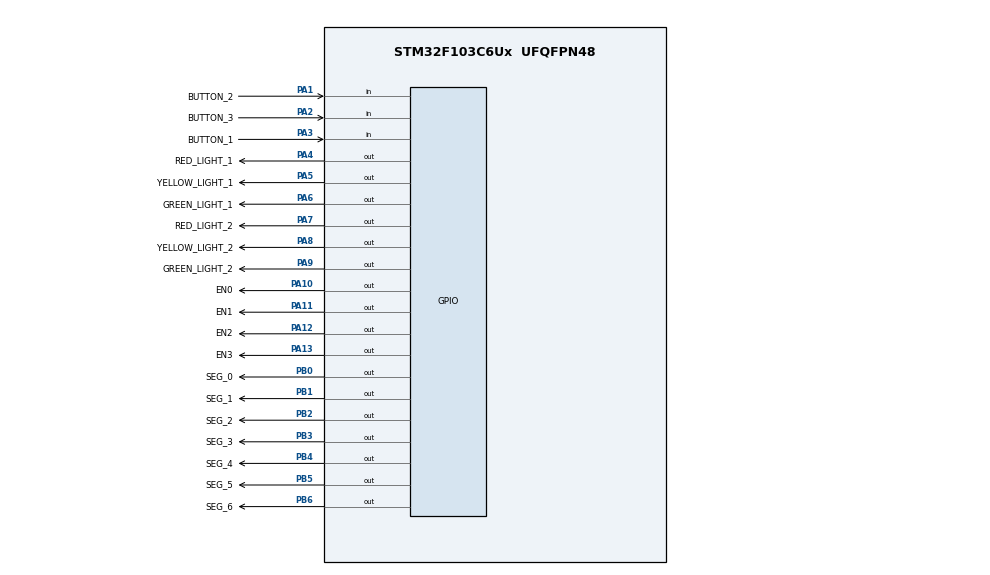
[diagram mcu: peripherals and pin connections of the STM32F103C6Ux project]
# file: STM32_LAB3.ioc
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Mcu.Family=STM32F1
Mcu.Name=STM32F103C6Ux
Mcu.Package=UFQFPN48
NVIC.PriorityGroup=NVIC_PRIORITYGROUP_4
NVIC.TIM2_IRQn=true\:0\:0\:false\:false\:true\:true\:true
PA1.GPIO_Label=BUTTON_2
PA1.GPIO_PuPd=GPIO_NOPULL
PA1.Signal=GPIO_Input
PA10.GPIO_Label=EN0
PA10.Signal=GPIO_Output
PA11.GPIO_Label=EN1
PA11.Signal=GPIO_Output
PA12.GPIO_Label=EN2
PA12.Signal=GPIO_Output
PA13.GPIO_Label=EN3
PA13.Signal=GPIO_Output
PA2.GPIO_Label=BUTTON_3
PA2.GPIO_PuPd=GPIO_NOPULL
PA2.Signal=GPIO_Input
PA3.GPIO_Label=BUTTON_1
PA3.Signal=GPIO_Input
PA4.GPIO_Label=RED_LIGHT_1
PA4.Signal=GPIO_Output
PA5.GPIO_Label=YELLOW_LIGHT_1
PA5.Signal=GPIO_Output
PA6.GPIO_Label=GREEN_LIGHT_1
PA6.Signal=GPIO_Output
PA7.GPIO_Label=RED_LIGHT_2
PA7.Signal=GPIO_Output
PA8.GPIO_Label=YELLOW_LIGHT_2
PA8.Signal=GPIO_Output
PA9.GPIO_Label=GREEN_LIGHT_2
PA9.Signal=GPIO_Output
PB0.GPIO_Label=SEG_0
PB0.Signal=GPIO_Output
PB1.GPIO_Label=SEG_1
PB1.Signal=GPIO_Output
PB2.GPIO_Label=SEG_2
PB2.Signal=GPIO_Output
PB3.GPIO_Label=SEG_3
PB3.Signal=GPIO_Output
PB4.GPIO_Label=SEG_4
PB4.Signal=GPIO_Output
PB5.GPIO_Label=SEG_5
PB5.Signal=GPIO_Output
PB6.GPIO_Label=SEG_6
PB6.Signal=GPIO_Output
ProjectManager.HeapSize=0x200
ProjectManager.StackSize=0x400
ProjectManager.TargetToolchain=STM32CubeIDE
RCC.APB1Freq_Value=8000000
RCC.APB2Freq_Value=8000000
TIM2.Period=9
TIM2.Prescaler=7999
VP_SYS_VS_ND.Mode=No_Debug
VP_TIM2_VS_ClockSourceINT.Mode=Internal
board=custom

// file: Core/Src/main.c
/* USER CODE BEGIN Header */
/**
  ******************************************************************************
  * @file           : main.c
  * @brief          : Main program body
  ******************************************************************************
  * @attention
  *
  * <h2><center>&copy; Copyright (c) 2023 STMicroelectronics.
  * All rights reserved.</center></h2>
  *
  * This software component is licensed by ST under BSD 3-Clause license,
  * the "License"; You may not use this file except in compliance with the
  * License. You may obtain a copy of the License at:
  *                        opensource.org/licenses/BSD-3-Clause
  *
  ******************************************************************************
  */
/* USER CODE END Header */
#include "main.h"

/* USER CODE BEGIN Includes */
#include "input_processing.h"
#include "global.h"
#include "display_led.h"
#include "software_timer.h"
#include "input_reading.h"
/* USER CODE END Includes */

TIM_HandleTypeDef htim2;

void SystemClock_Config(void);
static void MX_GPIO_Init(void);
static void MX_TIM2_Init(void);

int main(void)
{

  /* MCU Configuration--------------------------------------------------------*/

  /* Reset of all peripherals, Initializes the Flash interface and the Systick. */
  HAL_Init();

  /* Configure the system clock */
  SystemClock_Config();

  /* Initialize all configured peripherals */
  MX_GPIO_Init();
  MX_TIM2_Init();
  /* USER CODE BEGIN 2 */
  HAL_TIM_Base_Start_IT(&htim2);
  /* USER CODE END 2 */

  /* Infinite loop */
  /* USER CODE BEGIN WHILE */
  init_buffer();
  LedTimeDurationInit();
  setTimer0(1);
  setTimer1(1);
  count_inter = (8000000/(prescaller+1))/(counter+1); //
  while (1)
  {
	  UpdateMode();
	  LedDisplayMode();
	  fsm_for_input_processing();
	  if(get_timer1_flag())
	  {
		  LedScanning();
		  setTimer1((int)(count_inter*0.1));
	  }
    /* USER CODE END WHILE */

  }
}

void SystemClock_Config(void)
{
  RCC_OscInitTypeDef RCC_OscInitStruct = {0};
  RCC_ClkInitTypeDef RCC_ClkInitStruct = {0};

  /** Initializes the RCC Oscillators according to the specified parameters
  * in the RCC_OscInitTypeDef structure.
  */
  RCC_OscInitStruct.OscillatorType = RCC_OSCILLATORTYPE_HSI;
  RCC_OscInitStruct.HSIState = RCC_HSI_ON;
  RCC_OscInitStruct.HSICalibrationValue = RCC_HSICALIBRATION_DEFAULT;
  RCC_OscInitStruct.PLL.PLLState = RCC_PLL_NONE;
  if (HAL_RCC_OscConfig(&RCC_OscInitStruct) != HAL_OK)
  {
    Error_Handler();
  }
  /** Initializes the CPU, AHB and APB buses clocks
  */
  RCC_ClkInitStruct.ClockType = RCC_CLOCKTYPE_HCLK|RCC_CLOCKTYPE_SYSCLK
                              |RCC_CLOCKTYPE_PCLK1|RCC_CLOCKTYPE_PCLK2;
  RCC_ClkInitStruct.SYSCLKSource = RCC_SYSCLKSOURCE_HSI;
  RCC_ClkInitStruct.AHBCLKDivider = RCC_SYSCLK_DIV1;
  RCC_ClkInitStruct.APB1CLKDivider = RCC_HCLK_DIV1;
  RCC_ClkInitStruct.APB2CLKDivider = RCC_HCLK_DIV1;

  if (HAL_RCC_ClockConfig(&RCC_ClkInitStruct, FLASH_LATENCY_0) != HAL_OK)
  {
    Error_Handler();
  }
}

static void MX_TIM2_Init(void)
{

  TIM_ClockConfigTypeDef sClockSourceConfig = {0};
  TIM_MasterConfigTypeDef sMasterConfig = {0};

  htim2.Instance = TIM2;
  htim2.Init.Prescaler = 7999;
  htim2.Init.CounterMode = TIM_COUNTERMODE_UP;
  htim2.Init.Period = 9;
  htim2.Init.ClockDivision = TIM_CLOCKDIVISION_DIV1;
  htim2.Init.AutoReloadPreload = TIM_AUTORELOAD_PRELOAD_DISABLE;
  if (HAL_TIM_Base_Init(&htim2) != HAL_OK)
  {
    Error_Handler();
  }
  sClockSourceConfig.ClockSource = TIM_CLOCKSOURCE_INTERNAL;
  if (HAL_TIM_ConfigClockSource(&htim2, &sClockSourceConfig) != HAL_OK)
  {
    Error_Handler();
  }
  sMasterConfig.MasterOutputTrigger = TIM_TRGO_RESET;
  sMasterConfig.MasterSlaveMode = TIM_MASTERSLAVEMODE_DISABLE;
  if (HAL_TIMEx_MasterConfigSynchronization(&htim2, &sMasterConfig) != HAL_OK)
  {
    Error_Handler();
  }
  /* USER CODE BEGIN TIM2_Init 2 */
  prescaller = htim2.Init.Prescaler;
  counter = htim2.Init.Period;
  /* USER CODE END TIM2_Init 2 */

}

static void MX_GPIO_Init(void)
{
  GPIO_InitTypeDef GPIO_InitStruct = {0};

  /* GPIO Ports Clock Enable */
  __HAL_RCC_GPIOA_CLK_ENABLE();
  __HAL_RCC_GPIOB_CLK_ENABLE();

  /*Configure GPIO pin Output Level */
  HAL_GPIO_WritePin(GPIOA, RED_LIGHT_1_Pin|YELLOW_LIGHT_1_Pin|GREEN_LIGHT_1_Pin|RED_LIGHT_2_Pin
                          |YELLOW_LIGHT_2_Pin|GREEN_LIGHT_2_Pin|EN0_Pin|EN1_Pin
                          |EN2_Pin|EN3_Pin, GPIO_PIN_RESET);

  /*Configure GPIO pin Output Level */
  HAL_GPIO_WritePin(GPIOB, SEG_0_Pin|SEG_1_Pin|SEG_2_Pin|SEG_3_Pin
                          |SEG_4_Pin|SEG_5_Pin|SEG_6_Pin, GPIO_PIN_RESET);

  /*Configure GPIO pins : BUTTON_2_Pin BUTTON_3_Pin BUTTON_1_Pin */
  GPIO_InitStruct.Pin = BUTTON_2_Pin|BUTTON_3_Pin|BUTTON_1_Pin;
  GPIO_InitStruct.Mode = GPIO_MODE_INPUT;
  GPIO_InitStruct.Pull = GPIO_NOPULL;
  HAL_GPIO_Init(GPIOA, &GPIO_InitStruct);

  /*Configure GPIO pins : RED_LIGHT_1_Pin YELLOW_LIGHT_1_Pin GREEN_LIGHT_1_Pin RED_LIGHT_2_Pin
                           YELLOW_LIGHT_2_Pin GREEN_LIGHT_2_Pin EN0_Pin EN1_Pin
                           EN2_Pin EN3_Pin */
  GPIO_InitStruct.Pin = RED_LIGHT_1_Pin|YELLOW_LIGHT_1_Pin|GREEN_LIGHT_1_Pin|RED_LIGHT_2_Pin
                          |YELLOW_LIGHT_2_Pin|GREEN_LIGHT_2_Pin|EN0_Pin|EN1_Pin
                          |EN2_Pin|EN3_Pin;
  GPIO_InitStruct.Mode = GPIO_MODE_OUTPUT_PP;
  GPIO_InitStruct.Pull = GPIO_NOPULL;
  GPIO_InitStruct.Speed = GPIO_SPEED_FREQ_LOW;
  HAL_GPIO_Init(GPIOA, &GPIO_InitStruct);

  /*Configure GPIO pins : SEG_0_Pin SEG_1_Pin SEG_2_Pin SEG_3_Pin
                           SEG_4_Pin SEG_5_Pin SEG_6_Pin */
  GPIO_InitStruct.Pin = SEG_0_Pin|SEG_1_Pin|SEG_2_Pin|SEG_3_Pin
                          |SEG_4_Pin|SEG_5_Pin|SEG_6_Pin;
  GPIO_InitStruct.Mode = GPIO_MODE_OUTPUT_PP;
  GPIO_InitStruct.Pull = GPIO_NOPULL;
  GPIO_InitStruct.Speed = GPIO_SPEED_FREQ_LOW;
  HAL_GPIO_Init(GPIOB, &GPIO_InitStruct);

}

/* USER CODE BEGIN 4 */
void HAL_TIM_PeriodElapsedCallback(TIM_HandleTypeDef *htim){
		timer_run();
		button_reading();
}

/* USER CODE END 4 */

void Error_Handler(void)
{
  __disable_irq();
  while (1)
  {
  }
}

/************************ (C) COPYRIGHT STMicroelectronics *****END OF FILE****/
